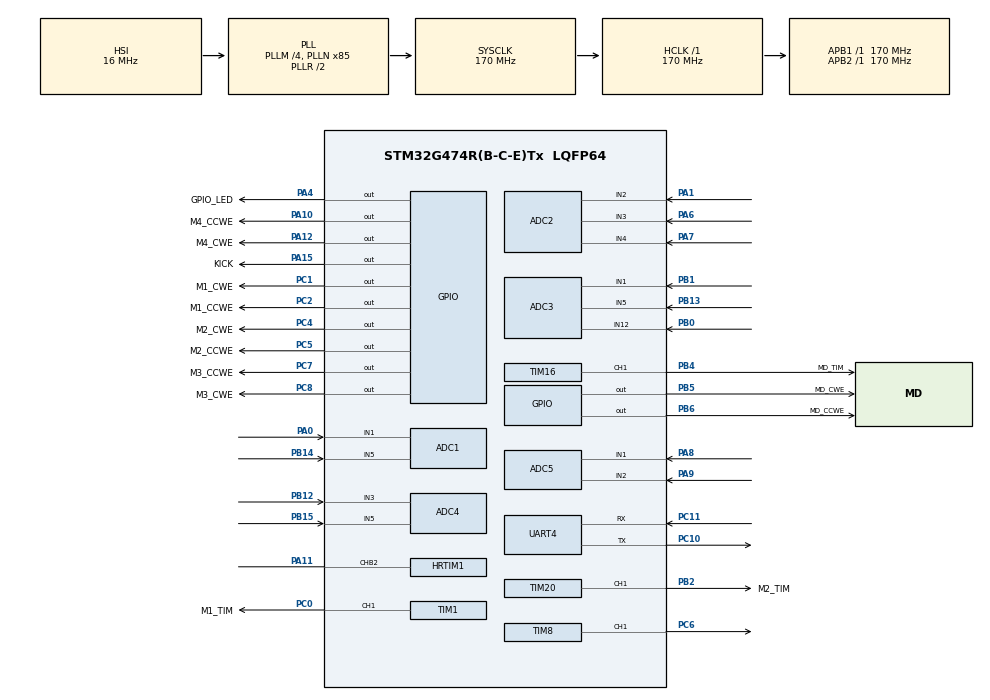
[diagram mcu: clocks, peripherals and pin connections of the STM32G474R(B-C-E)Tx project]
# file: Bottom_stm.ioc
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ADC1.Channel-0\#ChannelRegularConversion=ADC_CHANNEL_5
ADC1.Channel-1\#ChannelRegularConversion=ADC_CHANNEL_1
ADC1.NbrOfConversion=2
ADC1.NbrOfConversionFlag=1
ADC1.OffsetNumber-0\#ChannelRegularConversion=ADC_OFFSET_NONE
ADC1.OffsetNumber-1\#ChannelRegularConversion=ADC_OFFSET_NONE
ADC1.Rank-0\#ChannelRegularConversion=1
ADC1.Rank-1\#ChannelRegularConversion=2
ADC1.SamplingTime-0\#ChannelRegularConversion=ADC_SAMPLETIME_2CYCLES_5
ADC1.SamplingTime-1\#ChannelRegularConversion=ADC_SAMPLETIME_2CYCLES_5
ADC1.master=1
ADC2.Channel-0\#ChannelRegularConversion=ADC_CHANNEL_2
ADC2.Channel-1\#ChannelRegularConversion=ADC_CHANNEL_3
ADC2.Channel-2\#ChannelRegularConversion=ADC_CHANNEL_4
ADC2.NbrOfConversion=3
ADC2.NbrOfConversionFlag=1
ADC2.OffsetNumber-0\#ChannelRegularConversion=ADC_OFFSET_NONE
ADC2.OffsetNumber-1\#ChannelRegularConversion=ADC_OFFSET_NONE
ADC2.OffsetNumber-2\#ChannelRegularConversion=ADC_OFFSET_NONE
ADC2.Rank-0\#ChannelRegularConversion=1
ADC2.Rank-1\#ChannelRegularConversion=2
ADC2.Rank-2\#ChannelRegularConversion=3
ADC2.SamplingTime-0\#ChannelRegularConversion=ADC_SAMPLETIME_2CYCLES_5
ADC2.SamplingTime-1\#ChannelRegularConversion=ADC_SAMPLETIME_2CYCLES_5
ADC2.SamplingTime-2\#ChannelRegularConversion=ADC_SAMPLETIME_2CYCLES_5
ADC3.Channel-0\#ChannelRegularConversion=ADC_CHANNEL_1
ADC3.Channel-1\#ChannelRegularConversion=ADC_CHANNEL_5
ADC3.Channel-2\#ChannelRegularConversion=ADC_CHANNEL_12
ADC3.NbrOfConversion=3
ADC3.NbrOfConversionFlag=1
ADC3.OffsetNumber-0\#ChannelRegularConversion=ADC_OFFSET_NONE
ADC3.OffsetNumber-1\#ChannelRegularConversion=ADC_OFFSET_NONE
ADC3.OffsetNumber-2\#ChannelRegularConversion=ADC_OFFSET_NONE
ADC3.Rank-0\#ChannelRegularConversion=1
ADC3.Rank-1\#ChannelRegularConversion=2
ADC3.Rank-2\#ChannelRegularConversion=3
ADC3.SamplingTime-0\#ChannelRegularConversion=ADC_SAMPLETIME_2CYCLES_5
ADC3.SamplingTime-1\#ChannelRegularConversion=ADC_SAMPLETIME_2CYCLES_5
ADC3.SamplingTime-2\#ChannelRegularConversion=ADC_SAMPLETIME_2CYCLES_5
ADC3.master=1
ADC4.Channel-0\#ChannelRegularConversion=ADC_CHANNEL_3
ADC4.NbrOfConversion=1
ADC4.NbrOfConversionFlag=1
ADC4.OffsetNumber-0\#ChannelRegularConversion=ADC_OFFSET_NONE
ADC4.Rank-0\#ChannelRegularConversion=1
ADC4.SamplingTime-0\#ChannelRegularConversion=ADC_SAMPLETIME_2CYCLES_5
ADC5.Channel-0\#ChannelRegularConversion=ADC_CHANNEL_1
ADC5.Channel-1\#ChannelRegularConversion=ADC_CHANNEL_2
ADC5.NbrOfConversion=2
ADC5.NbrOfConversionFlag=1
ADC5.OffsetNumber-0\#ChannelRegularConversion=ADC_OFFSET_NONE
ADC5.OffsetNumber-1\#ChannelRegularConversion=ADC_OFFSET_NONE
ADC5.Rank-0\#ChannelRegularConversion=1
ADC5.Rank-1\#ChannelRegularConversion=2
ADC5.SamplingTime-0\#ChannelRegularConversion=ADC_SAMPLETIME_2CYCLES_5
ADC5.SamplingTime-1\#ChannelRegularConversion=ADC_SAMPLETIME_2CYCLES_5
HRTIM1.Configuration_TB=Simple
HRTIM1.PWMChannel_TB2=HRTIM_OUTPUT_TB2
HRTIM1.PWMPolarity_TB2=HRTIM_OUTPUTPOLARITY_LOW
HRTIM1.PWMPulse_TB2=5000
HRTIM1.Periode_TB=5000
Mcu.Family=STM32G4
Mcu.Name=STM32G474R(B-C-E)Tx
Mcu.Package=LQFP64
NVIC.PriorityGroup=NVIC_PRIORITYGROUP_4
NVIC.UART4_IRQn=true\:0\:0\:false\:false\:true\:true\:true\:true
PA0.Mode=IN1-Single-Ended
PA0.Signal=ADC1_IN1
PA1.Mode=IN2-Single-Ended
PA1.Signal=ADC2_IN2
PA10.GPIO_Label=M4_CCWE
PA10.Signal=GPIO_Output
PA11.Mode=Output_TB2
PA11.Signal=HRTIM1_CHB2
PA12.GPIO_Label=M4_CWE
PA12.Signal=GPIO_Output
PA13.Mode=Serial_Wire
PA13.Signal=SYS_JTMS-SWDIO
PA14.Mode=Serial_Wire
PA14.Signal=SYS_JTCK-SWCLK
PA15.GPIO_Label=KICK
PA15.Signal=GPIO_Output
PA4.GPIO_Label=GPIO_LED
PA4.Signal=GPIO_Output
PA6.Mode=IN3-Single-Ended
PA6.Signal=ADC2_IN3
PA7.Mode=IN4-Single-Ended
PA7.Signal=ADC2_IN4
PA8.Mode=IN1-Single-Ended
PA8.Signal=ADC5_IN1
PA9.Mode=IN2-Single-Ended
PA9.Signal=ADC5_IN2
PB0.Mode=IN12-Single-Ended
PB0.Signal=ADC3_IN12
PB1.Mode=IN1-Single-Ended
PB1.Signal=ADC3_IN1
PB12.Mode=IN3-Single-Ended
PB12.Signal=ADC4_IN3
PB13.Mode=IN5-Single-Ended
PB13.Signal=ADC3_IN5
PB14.Mode=IN5-Single-Ended
PB14.Signal=ADC1_IN5
PB15.Mode=IN5-Single-Ended
PB15.Signal=ADC4_IN5
PB2.GPIO_Label=M2_TIM
PB2.Signal=S_TIM20_CH1
PB4.GPIO_Label=MD_TIM
PB4.Signal=S_TIM16_CH1
PB5.GPIO_Label=MD_CWE
PB5.Signal=GPIO_Output
PB6.GPIO_Label=MD_CCWE
PB6.Signal=GPIO_Output
PC0.GPIO_Label=M1_TIM
PC0.Signal=S_TIM1_CH1
PC1.GPIO_Label=M1_CWE
PC1.Signal=GPIO_Output
PC10.Mode=Asynchronous
PC10.Signal=UART4_TX
PC11.Mode=Asynchronous
PC11.Signal=UART4_RX
PC2.GPIO_Label=M1_CCWE
PC2.Signal=GPIO_Output
PC4.GPIO_Label=M2_CWE
PC4.Signal=GPIO_Output
PC5.GPIO_Label=M2_CCWE
PC5.Signal=GPIO_Output
PC6.Signal=S_TIM8_CH1
PC7.GPIO_Label=M3_CCWE
PC7.Signal=GPIO_Output
PC8.GPIO_Label=M3_CWE
PC8.Signal=GPIO_Output
PF0-OSC_IN.Mode=HSE-External-Oscillator
PF0-OSC_IN.Signal=RCC_OSC_IN
PF1-OSC_OUT.Mode=HSE-External-Oscillator
PF1-OSC_OUT.Signal=RCC_OSC_OUT
ProjectManager.HeapSize=0x200
ProjectManager.StackSize=0x400
ProjectManager.TargetToolchain=STM32CubeIDE
RCC.ADC12Freq_Value=170000000
RCC.ADC345Freq_Value=170000000
RCC.AHBFreq_Value=170000000
RCC.APB1Freq_Value=170000000
RCC.APB1TimFreq_Value=170000000
RCC.APB2Freq_Value=170000000
RCC.APB2TimFreq_Value=170000000
RCC.CortexFreq_Value=170000000
RCC.EXTERNAL_CLOCK_VALUE=12288000
RCC.HCLKFreq_Value=170000000
RCC.HSE_VALUE=24000000
RCC.HSI48_VALUE=48000000
RCC.HSI_VALUE=16000000
RCC.LSE_VALUE=32768
RCC.PLLM=RCC_PLLM_DIV4
RCC.PLLN=85
RCC.SYSCLKFreq_VALUE=170000000
RCC.SYSCLKSource=RCC_SYSCLKSOURCE_PLLCLK
RCC.USBFreq_Value=170000000
RCC.VCOOutputFreq_Value=340000000
SH.S_TIM16_CH1.0=TIM16_CH1,PWM Generation1 CH1
SH.S_TIM1_CH1.0=TIM1_CH1,PWM Generation1 CH1
SH.S_TIM20_CH1.0=TIM20_CH1,PWM Generation1 CH1
SH.S_TIM8_CH1.0=TIM8_CH1,PWM Generation1 CH1
TIM1.Channel-PWM\ Generation1\ CH1=TIM_CHANNEL_1
TIM1.PeriodNoDither=5000
TIM16.Channel=TIM_CHANNEL_1
TIM16.PeriodNoDither=5000
TIM20.Channel-PWM\ Generation1\ CH1=TIM_CHANNEL_1
TIM20.PeriodNoDither=5000
TIM8.Channel-PWM\ Generation1\ CH1=TIM_CHANNEL_1
TIM8.PeriodNoDither=5000
VP_SYS_VS_DBSignals.Mode=DisableDeadBatterySignals
VP_TIM16_VS_ClockSourceINT.Mode=Enable_Timer
VP_TIM1_VS_ClockSourceINT.Mode=Internal
VP_TIM20_VS_ClockSourceINT.Mode=Internal
VP_TIM2_VS_ClockSourceINT.Mode=Internal
VP_TIM3_VS_ClockSourceINT.Mode=Internal
VP_TIM8_VS_ClockSourceINT.Mode=Internal
board=custom

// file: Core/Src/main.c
/* USER CODE BEGIN Header */
/**
  ******************************************************************************
  * @file           : main.c
  * @brief          : Main program body
  ******************************************************************************
  * @attention
  *
  * Copyright (c) 2024 STMicroelectronics.
  * All rights reserved.
  *
  * This software is licensed under terms that can be found in the LICENSE file
  * in the root directory of this software component.
  * If no LICENSE file comes with this software, it is provided AS-IS.
  *
  ******************************************************************************
  */
/* USER CODE END Header */
#include "main.h"

/* USER CODE BEGIN Includes */
#include <stdio.h>
#include <stdlib.h>
#include <string.h>
/* USER CODE END Includes */

ADC_HandleTypeDef hadc1;
ADC_HandleTypeDef hadc2;
ADC_HandleTypeDef hadc3;
ADC_HandleTypeDef hadc4;
ADC_HandleTypeDef hadc5;

HRTIM_HandleTypeDef hhrtim1;

TIM_HandleTypeDef htim1;
TIM_HandleTypeDef htim2;
TIM_HandleTypeDef htim3;
TIM_HandleTypeDef htim8;
TIM_HandleTypeDef htim16;
TIM_HandleTypeDef htim20;

UART_HandleTypeDef huart4;

void SystemClock_Config(void);
static void MX_GPIO_Init(void);
static void MX_ADC1_Init(void);
static void MX_ADC2_Init(void);
static void MX_ADC3_Init(void);
static void MX_ADC4_Init(void);
static void MX_ADC5_Init(void);
static void MX_HRTIM1_Init(void);
static void MX_TIM1_Init(void);
static void MX_TIM2_Init(void);
static void MX_TIM3_Init(void);
static void MX_TIM8_Init(void);
static void MX_TIM20_Init(void);
static void MX_UART4_Init(void);
static void MX_TIM16_Init(void);

/* USER CODE BEGIN 0 */
#define SENSOR_COUNT 7
#define MOTOR_COUNT 4
#define SEND_BUFFER_SIZE 128
#define READ_BUFFER_SIZE 128
#define MSG_G_SIZE 40
#define MSG_H_SIZE 48
#define TIME_BETWEEN_SEND 6 // 20
#define TIME_BETWEEN_KICK 1000
#define KICK_LENGTH 100

uint16_t lineSensorValue [SENSOR_COUNT]= {0,0,0,0,0,0,0};
uint16_t gateSensorValue = 0; // inverted values from the light gate
int16_t motorValue[MOTOR_COUNT]= {0,0,0,0};
int motorValUpdated = 1;
int16_t dribblerValue = 0;
uint8_t kickerValue = 0;
uint8_t kicked = 0;
uint32_t lastKick = 0;
uint32_t lastMsgRecieved = 0;

uint32_t huart4_TxStart = 0;
uint32_t huart4_TxDuration = 0;
uint32_t huart4_TxInProgress = 0;
uint32_t huart4_TxLastSent = 0;
int huart4_TxErrCnt = 0;

char huart4_RxBuffer[READ_BUFFER_SIZE];
int huart4_RxErrCnt = 0;
int huart4_RxErrCnt2 = 0;
//int huart4_RxErrCnt3 = 0;

uint32_t loop_start = 0;
uint32_t loop_duration = 0;

void my_ADC_Init(ADC_HandleTypeDef *hadc){
	if (HAL_ADC_DeInit(hadc) != HAL_OK)
	{
		Error_Handler();
	}
	//ADC_MultiModeTypeDef multimode = {0};

	hadc->Init.ScanConvMode = ADC_SCAN_DISABLE;
	hadc->Init.EOCSelection = ADC_EOC_SINGLE_CONV;

	hadc->Init.ContinuousConvMode = DISABLE;
	hadc->Init.NbrOfConversion = 1;

	if (HAL_ADC_Init(hadc) != HAL_OK)
	{
		Error_Handler();
	}

	/*multimode.Mode = ADC_MODE_INDEPENDENT;
	if (HAL_ADCEx_MultiModeConfigChannel(hadc, &multimode) != HAL_OK)
	{
		Error_Handler();
	}*/
}

void my_ADC_Start(ADC_HandleTypeDef *hadc, uint32_t channel){
	ADC_ChannelConfTypeDef sConfig = {0};

	sConfig.Channel = channel;
	sConfig.Rank = ADC_REGULAR_RANK_1;
	sConfig.SamplingTime = ADC_SAMPLETIME_2CYCLES_5;
	sConfig.SingleDiff = ADC_SINGLE_ENDED;
	sConfig.OffsetNumber = ADC_OFFSET_NONE;
	sConfig.Offset = 0;
	if (HAL_ADC_ConfigChannel(hadc, &sConfig) != HAL_OK)
	{
		Error_Handler();
	}

	HAL_ADC_Start(hadc);
}

void LineSensorRead(){
	my_ADC_Start(&hadc1, ADC_CHANNEL_5);
	my_ADC_Start(&hadc2, ADC_CHANNEL_3);
	my_ADC_Start(&hadc3, ADC_CHANNEL_12);
	my_ADC_Start(&hadc4, ADC_CHANNEL_5);

	HAL_ADC_PollForConversion(&hadc1, 1000);
	uint16_t s5 = HAL_ADC_GetValue(&hadc1);
	HAL_ADC_Stop(&hadc1);

	HAL_ADC_PollForConversion(&hadc2, 1000);
	uint16_t s0 = HAL_ADC_GetValue(&hadc2);
	HAL_ADC_Stop(&hadc2);

	HAL_ADC_PollForConversion(&hadc3, 1000);
	uint16_t s2 =  HAL_ADC_GetValue(&hadc3);
	HAL_ADC_Stop(&hadc3);

	HAL_ADC_PollForConversion(&hadc4, 1000);
	uint16_t s6 =  HAL_ADC_GetValue(&hadc4);
	HAL_ADC_Stop(&hadc4);

	my_ADC_Start(&hadc2, ADC_CHANNEL_4);
	my_ADC_Start(&hadc3, ADC_CHANNEL_1);

	HAL_ADC_PollForConversion(&hadc2, 1000);
	uint16_t s1 =  HAL_ADC_GetValue(&hadc2);
	HAL_ADC_Stop(&hadc2);

	HAL_ADC_PollForConversion(&hadc3, 1000);
	uint16_t s3 =  HAL_ADC_GetValue(&hadc3);
	HAL_ADC_Stop(&hadc3);

	my_ADC_Start(&hadc3, ADC_CHANNEL_5);

	HAL_ADC_PollForConversion(&hadc3, 1000);
	uint16_t s4 =  HAL_ADC_GetValue(&hadc3);
	HAL_ADC_Stop(&hadc3);

	if (s5 >= lineSensorValue[5]){
		lineSensorValue[5] = s5;
	}
	if (s0 >= lineSensorValue[0]){
		lineSensorValue[0] = s0;
	}
	if (s2 >= lineSensorValue[2]){
		lineSensorValue[2] = s2;
	}
	if (s6 >= lineSensorValue[6]){
		lineSensorValue[6] = s6;
	}
	if (s1 >= lineSensorValue[1]){
		lineSensorValue[1] = s1;
	}
	if (s3 >= lineSensorValue[3]){
		lineSensorValue[3] = s3;
	}
	if (s4 >= lineSensorValue[4]){
		lineSensorValue[4] = s4;
	}
}

void DriveMotorSet(){
	int16_t realMotorValue[MOTOR_COUNT];
	int8_t realMotorPolarity[MOTOR_COUNT];
	int16_t realDribblerValue;
	int8_t realDribblerPolarity;

	/*motorValue[0] = 100;
	motorValue[1] = 100;
	motorValue[2] = 100;
	motorValue[3] = 100;*/
	if (motorValUpdated == 0){
		return;
	}
	for (int i = 0; i < MOTOR_COUNT; i++) {
		if(motorValue[i] == 0){
			realMotorPolarity[i] = -1;
		}else
		if(motorValue[i] > 0){
			realMotorPolarity[i] = 0;
		} else {
			realMotorPolarity[i] = 1;
		}
		realMotorValue[i] = abs(motorValue[i])*3.788 + 757; // 757 - 0.5V, 0rpm; 4545 - 3V 1000rpm
	}
	{
		if(dribblerValue == 0){
			realDribblerPolarity = -1;
		}else
		if(dribblerValue > 0){
			realDribblerPolarity = 0;
		} else {
			realDribblerPolarity = 1;
		}
		realDribblerValue = abs(dribblerValue)*3.788 + 757; // 757 - 0.5V, 0rpm; 4545 - 3V ?rpm
	}

	if(realMotorPolarity[0] == -1){
		HAL_GPIO_WritePin(M1_CWE_GPIO_Port, M1_CWE_Pin, 0);
		HAL_GPIO_WritePin(M1_CCWE_GPIO_Port, M1_CCWE_Pin, 0);

		__HAL_TIM_SET_COMPARE(&htim1, TIM_CHANNEL_1, realMotorValue[0]);
	} else
	if(realMotorPolarity[0] > 0){
		HAL_GPIO_WritePin(M1_CWE_GPIO_Port, M1_CWE_Pin, 1);
		HAL_GPIO_WritePin(M1_CCWE_GPIO_Port, M1_CCWE_Pin, 0);

		__HAL_TIM_SET_COMPARE(&htim1, TIM_CHANNEL_1, realMotorValue[0]);
	} else {
		HAL_GPIO_WritePin(M1_CWE_GPIO_Port, M1_CWE_Pin, 0);
		HAL_GPIO_WritePin(M1_CCWE_GPIO_Port, M1_CCWE_Pin, 1);

		__HAL_TIM_SET_COMPARE(&htim1, TIM_CHANNEL_1, realMotorValue[0]);
	}

	if(realMotorPolarity[2] == -1){
		HAL_GPIO_WritePin(M2_CWE_GPIO_Port, M2_CWE_Pin, 0);
		HAL_GPIO_WritePin(M2_CCWE_GPIO_Port, M2_CCWE_Pin, 0);

		__HAL_TIM_SET_COMPARE(&htim20, TIM_CHANNEL_1, realMotorValue[2]);
	} else
	if(realMotorPolarity[2] > 0){
		HAL_GPIO_WritePin(M2_CWE_GPIO_Port, M2_CWE_Pin, 0);
		HAL_GPIO_WritePin(M2_CCWE_GPIO_Port, M2_CCWE_Pin, 1);

		__HAL_TIM_SET_COMPARE(&htim20, TIM_CHANNEL_1, realMotorValue[2]);
	} else {
		HAL_GPIO_WritePin(M2_CWE_GPIO_Port, M2_CWE_Pin, 1);
		HAL_GPIO_WritePin(M2_CCWE_GPIO_Port, M2_CCWE_Pin, 0);

		__HAL_TIM_SET_COMPARE(&htim20, TIM_CHANNEL_1, realMotorValue[2]);
	}

	if(realMotorPolarity[1] == -1){
		HAL_GPIO_WritePin(M3_CWE_GPIO_Port, M3_CWE_Pin, 0);
		HAL_GPIO_WritePin(M3_CCWE_GPIO_Port, M3_CCWE_Pin, 0);

		__HAL_TIM_SET_COMPARE(&htim8, TIM_CHANNEL_1, realMotorValue[1]);
	} else
	if(realMotorPolarity[1] > 0){
		HAL_GPIO_WritePin(M3_CWE_GPIO_Port, M3_CWE_Pin, 0);
		HAL_GPIO_WritePin(M3_CCWE_GPIO_Port, M3_CCWE_Pin, 1);

		__HAL_TIM_SET_COMPARE(&htim8, TIM_CHANNEL_1, realMotorValue[1]);
	} else {
		HAL_GPIO_WritePin(M3_CWE_GPIO_Port, M3_CWE_Pin, 1);
		HAL_GPIO_WritePin(M3_CCWE_GPIO_Port, M3_CCWE_Pin, 0);

		__HAL_TIM_SET_COMPARE(&htim8, TIM_CHANNEL_1, realMotorValue[1]);
	}

	if(realMotorPolarity[3] == -1){
		HAL_GPIO_WritePin(M4_CWE_GPIO_Port, M4_CWE_Pin, 0);
		HAL_GPIO_WritePin(M4_CCWE_GPIO_Port, M4_CCWE_Pin, 0);

		__HAL_HRTIM_SETCOMPARE(&hhrtim1, HRTIM_TIMERINDEX_TIMER_B, HRTIM_COMPAREUNIT_2, realMotorValue[3]);
		HAL_HRTIM_SoftwareUpdate(&hhrtim1, HRTIM_TIMERUPDATE_B);
	} else
	if(realMotorPolarity[3] > 0){
		HAL_GPIO_WritePin(M4_CWE_GPIO_Port, M4_CWE_Pin, 1);
		HAL_GPIO_WritePin(M4_CCWE_GPIO_Port, M4_CCWE_Pin, 0);

		__HAL_HRTIM_SETCOMPARE(&hhrtim1, HRTIM_TIMERINDEX_TIMER_B, HRTIM_COMPAREUNIT_2, realMotorValue[3]);
		HAL_HRTIM_SoftwareUpdate(&hhrtim1, HRTIM_TIMERUPDATE_B);
	} else {
		HAL_GPIO_WritePin(M4_CWE_GPIO_Port, M4_CWE_Pin, 0);
		HAL_GPIO_WritePin(M4_CCWE_GPIO_Port, M4_CCWE_Pin, 1);

		__HAL_HRTIM_SETCOMPARE(&hhrtim1, HRTIM_TIMERINDEX_TIMER_B, HRTIM_COMPAREUNIT_2, realMotorValue[3]);
		HAL_HRTIM_SoftwareUpdate(&hhrtim1, HRTIM_TIMERUPDATE_B);
	}

	if(realDribblerPolarity == -1){
		HAL_GPIO_WritePin(MD_CWE_GPIO_Port, MD_CWE_Pin, 0);
		HAL_GPIO_WritePin(MD_CCWE_GPIO_Port, MD_CCWE_Pin, 0);

		__HAL_TIM_SET_COMPARE(&htim16, TIM_CHANNEL_1, realDribblerValue);
	} else
	if(realDribblerPolarity > 0){
		HAL_GPIO_WritePin(MD_CWE_GPIO_Port, MD_CWE_Pin, 0);
		HAL_GPIO_WritePin(MD_CCWE_GPIO_Port, MD_CCWE_Pin, 1);

		__HAL_TIM_SET_COMPARE(&htim16, TIM_CHANNEL_1, realDribblerValue);
	} else {
		HAL_GPIO_WritePin(MD_CWE_GPIO_Port, MD_CWE_Pin, 0);
		HAL_GPIO_WritePin(MD_CCWE_GPIO_Port, MD_CCWE_Pin, 1);

		__HAL_TIM_SET_COMPARE(&htim16, TIM_CHANNEL_1, realDribblerValue);
	}

	if((kicked == 1) && (lastKick + KICK_LENGTH <= HAL_GetTick())){
		kicked = 2;
		HAL_GPIO_WritePin(KICK_GPIO_Port, KICK_Pin, 0);
	}
	if((kicked == 2) && (lastKick + TIME_BETWEEN_KICK <= HAL_GetTick())){
		kicked = 0;
	}
	if((kicked == 0) && (kickerValue > 0)){
		HAL_GPIO_WritePin(KICK_GPIO_Port, KICK_Pin, 1);
		lastKick = HAL_GetTick();
		kicked = 1;
	}

	motorValUpdated = 0;
}

void HAL_UART_TxCpltCallback(UART_HandleTypeDef *huart)
{
	//vyhodnotenie dlzky transmitu
	// nastavenie flagu o ukonceni komunikacie
	if(huart == &huart4){
		huart4_TxDuration = HAL_GetTick() - huart4_TxStart;
		huart4_TxInProgress = 0;
		huart4_TxErrCnt++;
	}
}

void HAL_UART_RxCpltCallback(UART_HandleTypeDef *huart)
{
	huart4_RxErrCnt++;
	if(huart == &huart4){
		int j = 0;
		while((huart4_RxBuffer[j] != '{') && (j< MSG_G_SIZE)){
			j++;
		}
		if((j > 0) && (j< MSG_G_SIZE)){
			for (int k = j; k < MSG_G_SIZE; k++) {
				huart4_RxBuffer[k-j] = huart4_RxBuffer[k];
			}
			HAL_UART_Receive_IT(&huart4, (uint8_t *)&huart4_RxBuffer[MSG_G_SIZE-j], j);
			//res7 = HAL_UART_Receive(&huart7, (uint8_t *)huart7_RxBuffer, MSG_H_SIZE, 10);
		} else {
			if(huart4_RxBuffer[0] == '{' && huart4_RxBuffer[2] == 'g' && huart4_RxBuffer[MSG_G_SIZE-2] == '}'){
				huart4_RxErrCnt2++;
				int i = 6;
				while((huart4_RxBuffer[i] != '\"') && (huart4_RxBuffer[i] != '\'') && (i< MSG_G_SIZE)){
					i++;
				}
				if(i<MSG_G_SIZE){
					huart4_RxBuffer[i] = 0;
					int res3, d1, d2, d3, d4, d5, d6;
					res3 = sscanf(&huart4_RxBuffer[6], "%d,%d,%d,%d,%d,%d", &d1, &d2, &d3, &d4, &d5, &d6);
					if(res3 == 6){
						motorValue[0] = d1;
						motorValue[1] = d2;
						motorValue[2] = d3;
						motorValue[3] = d4;
						dribblerValue = d5;
						kickerValue = d6;
						motorValUpdated = 1;
						lastMsgRecieved = HAL_GetTick();
					}
				}
			}
			HAL_UART_Receive_IT(&huart4, (uint8_t *)huart4_RxBuffer, MSG_G_SIZE);
		}
	}
}
/* USER CODE END 0 */

int main(void)
{

  /* MCU Configuration--------------------------------------------------------*/

  /* Reset of all peripherals, Initializes the Flash interface and the Systick. */
  HAL_Init();

  /* Configure the system clock */
  SystemClock_Config();

  /* Initialize all configured peripherals */
  MX_GPIO_Init();
  MX_ADC1_Init();
  MX_ADC2_Init();
  MX_ADC3_Init();
  MX_ADC4_Init();
  MX_ADC5_Init();
  MX_HRTIM1_Init();
  MX_TIM1_Init();
  MX_TIM2_Init();
  MX_TIM3_Init();
  MX_TIM8_Init();
  MX_TIM20_Init();
  MX_UART4_Init();
  MX_TIM16_Init();
  /* USER CODE BEGIN 2 */
  my_ADC_Init(&hadc1);
  my_ADC_Init(&hadc2);
  my_ADC_Init(&hadc3);
  my_ADC_Init(&hadc4);

  HAL_TIM_PWM_Start(&htim1, TIM_CHANNEL_1);
  HAL_TIM_PWM_Start(&htim20, TIM_CHANNEL_1);
  HAL_TIM_PWM_Start(&htim8, TIM_CHANNEL_1);
  HAL_HRTIM_SimplePWMStart(&hhrtim1, HRTIM_TIMERINDEX_TIMER_B, HRTIM_OUTPUT_TB2);
  HAL_TIM_PWM_Start(&htim16, TIM_CHANNEL_1);

  for (int i = 0; i < READ_BUFFER_SIZE; ++i) {
	  huart4_RxBuffer[i] = 0;
  }
  HAL_StatusTypeDef res;
  res = HAL_UART_Receive_IT(&huart4, (uint8_t *)huart4_RxBuffer, MSG_G_SIZE);
  if (res != HAL_OK)
  {
	  Error_Handler();
  }
  HAL_GPIO_WritePin(KICK_GPIO_Port, KICK_Pin, 0);
  /* USER CODE END 2 */

  /* Infinite loop */
  while (1)
  {

    /* USER CODE BEGIN 3 */
	  loop_start = HAL_GetTick();
	  LineSensorRead();
	  DriveMotorSet();

	  //HAL_GPIO_WritePin(GPIO_LED_GPIO_Port, GPIO_LED_Pin, 0);

	  if(HAL_GetTick() - lastMsgRecieved > 1000){
		  motorValue[0] = 0;
		  motorValue[1] = 0;
		  motorValue[2] = 0;
		  motorValue[3] = 0;
		  motorValUpdated = 1;
		  lastMsgRecieved = HAL_GetTick();
	  }

	  if((huart4_TxInProgress == 0) && (HAL_GetTick() >= huart4_TxLastSent + TIME_BETWEEN_SEND)){
		  huart4_TxStart = HAL_GetTick();
		  huart4_TxInProgress = 1;

		  char msg2[SEND_BUFFER_SIZE];
		  		  //HAL_GPIO_WritePin(GPIO_LED_GPIO_Port, GPIO_LED_Pin, 1);
		  sprintf(msg2, "{\"h\":\"%d,%d,%d,%d,%d,%d,%d,%d\"", (int) lineSensorValue[0], (int)lineSensorValue[1], (int)lineSensorValue[2], (int)lineSensorValue[3], (int)lineSensorValue[4], (int)lineSensorValue[5], (int)lineSensorValue[6], (int)gateSensorValue);
		  //sprintf(msg2, "{\"h\":\"%d,%d,%d,%d,%d,%d,%d\"", (int) huart4_RxErrCnt2%10000, (int)huart4_TxErrCnt%10000, (int)lineSensorValue[2], (int)lineSensorValue[3], (int)lineSensorValue[4], (int)lineSensorValue[5], (int)lineSensorValue[6]);
		  uint16_t msg2_len = strlen(msg2);
		  while(msg2_len < MSG_H_SIZE-2){
			  msg2[msg2_len++] = ' ';
		  }
		  msg2[msg2_len++] = '}';
		  msg2[msg2_len++] = '\n';

		  HAL_StatusTypeDef res2;
		  res2 = HAL_UART_Transmit_IT(&huart4, (uint8_t *)msg2, msg2_len);

		  if(res2 == HAL_OK){
			  huart4_TxLastSent = huart4_TxStart;
			  for (int i = 0; i < SENSOR_COUNT; i++) {
				  lineSensorValue[i] = 0;
			  }
		  }else{
			  huart4_TxInProgress = 0;
		  }

	  }
	  HAL_Delay(1);
	  loop_duration = HAL_GetTick() - loop_start;
	  /*HAL_Delay(3000);
	  char huart4_RxBuffer2[READ_BUFFER_SIZE];
	  for (int i = 0; i < READ_BUFFER_SIZE; ++i) {
		  huart4_RxBuffer2[i] = 0;
		}

	  HAL_StatusTypeDef res;
		res = HAL_UART_Receive(&huart4, (uint8_t *)huart4_RxBuffer2, MSG_G_SIZE,3000);
		if (res != HAL_OK)
		{
		  Error_Handler();
		} else {
			huart4_RxErrCnt3++;
		}*/
  }
  /* USER CODE END 3 */
}

void SystemClock_Config(void)
{
  RCC_OscInitTypeDef RCC_OscInitStruct = {0};
  RCC_ClkInitTypeDef RCC_ClkInitStruct = {0};

  /** Configure the main internal regulator output voltage
  */
  HAL_PWREx_ControlVoltageScaling(PWR_REGULATOR_VOLTAGE_SCALE1_BOOST);

  /** Initializes the RCC Oscillators according to the specified parameters
  * in the RCC_OscInitTypeDef structure.
  */
  RCC_OscInitStruct.OscillatorType = RCC_OSCILLATORTYPE_HSI;
  RCC_OscInitStruct.HSIState = RCC_HSI_ON;
  RCC_OscInitStruct.HSICalibrationValue = RCC_HSICALIBRATION_DEFAULT;
  RCC_OscInitStruct.PLL.PLLState = RCC_PLL_ON;
  RCC_OscInitStruct.PLL.PLLSource = RCC_PLLSOURCE_HSI;
  RCC_OscInitStruct.PLL.PLLM = RCC_PLLM_DIV4;
  RCC_OscInitStruct.PLL.PLLN = 85;
  RCC_OscInitStruct.PLL.PLLP = RCC_PLLP_DIV2;
  RCC_OscInitStruct.PLL.PLLQ = RCC_PLLQ_DIV2;
  RCC_OscInitStruct.PLL.PLLR = RCC_PLLR_DIV2;
  if (HAL_RCC_OscConfig(&RCC_OscInitStruct) != HAL_OK)
  {
    Error_Handler();
  }

  /** Initializes the CPU, AHB and APB buses clocks
  */
  RCC_ClkInitStruct.ClockType = RCC_CLOCKTYPE_HCLK|RCC_CLOCKTYPE_SYSCLK
                              |RCC_CLOCKTYPE_PCLK1|RCC_CLOCKTYPE_PCLK2;
  RCC_ClkInitStruct.SYSCLKSource = RCC_SYSCLKSOURCE_PLLCLK;
  RCC_ClkInitStruct.AHBCLKDivider = RCC_SYSCLK_DIV1;
  RCC_ClkInitStruct.APB1CLKDivider = RCC_HCLK_DIV1;
  RCC_ClkInitStruct.APB2CLKDivider = RCC_HCLK_DIV1;

  if (HAL_RCC_ClockConfig(&RCC_ClkInitStruct, FLASH_LATENCY_4) != HAL_OK)
  {
    Error_Handler();
  }
}

static void MX_ADC1_Init(void)
{

  ADC_MultiModeTypeDef multimode = {0};
  ADC_ChannelConfTypeDef sConfig = {0};

  /** Common config
  */
  hadc1.Instance = ADC1;
  hadc1.Init.ClockPrescaler = ADC_CLOCK_SYNC_PCLK_DIV4;
  hadc1.Init.Resolution = ADC_RESOLUTION_12B;
  hadc1.Init.DataAlign = ADC_DATAALIGN_RIGHT;
  hadc1.Init.GainCompensation = 0;
  hadc1.Init.ScanConvMode = ADC_SCAN_ENABLE;
  hadc1.Init.EOCSelection = ADC_EOC_SINGLE_CONV;
  hadc1.Init.LowPowerAutoWait = DISABLE;
  hadc1.Init.ContinuousConvMode = DISABLE;
  hadc1.Init.NbrOfConversion = 2;
  hadc1.Init.DiscontinuousConvMode = DISABLE;
  hadc1.Init.ExternalTrigConv = ADC_SOFTWARE_START;
  hadc1.Init.ExternalTrigConvEdge = ADC_EXTERNALTRIGCONVEDGE_NONE;
  hadc1.Init.DMAContinuousRequests = DISABLE;
  hadc1.Init.Overrun = ADC_OVR_DATA_PRESERVED;
  hadc1.Init.OversamplingMode = DISABLE;
  if (HAL_ADC_Init(&hadc1) != HAL_OK)
  {
    Error_Handler();
  }

  /** Configure the ADC multi-mode
  */
  multimode.Mode = ADC_MODE_INDEPENDENT;
  if (HAL_ADCEx_MultiModeConfigChannel(&hadc1, &multimode) != HAL_OK)
  {
    Error_Handler();
  }

  /** Configure Regular Channel
  */
  sConfig.Channel = ADC_CHANNEL_5;
  sConfig.Rank = ADC_REGULAR_RANK_1;
  sConfig.SamplingTime = ADC_SAMPLETIME_2CYCLES_5;
  sConfig.SingleDiff = ADC_SINGLE_ENDED;
  sConfig.OffsetNumber = ADC_OFFSET_NONE;
  sConfig.Offset = 0;
  if (HAL_ADC_ConfigChannel(&hadc1, &sConfig) != HAL_OK)
  {
    Error_Handler();
  }

  /** Configure Regular Channel
  */
  sConfig.Channel = ADC_CHANNEL_1;
  sConfig.Rank = ADC_REGULAR_RANK_2;
  if (HAL_ADC_ConfigChannel(&hadc1, &sConfig) != HAL_OK)
  {
    Error_Handler();
  }

}

static void MX_ADC2_Init(void)
{

  ADC_ChannelConfTypeDef sConfig = {0};

  /** Common config
  */
  hadc2.Instance = ADC2;
  hadc2.Init.ClockPrescaler = ADC_CLOCK_SYNC_PCLK_DIV4;
  hadc2.Init.Resolution = ADC_RESOLUTION_12B;
  hadc2.Init.DataAlign = ADC_DATAALIGN_RIGHT;
  hadc2.Init.GainCompensation = 0;
  hadc2.Init.ScanConvMode = ADC_SCAN_ENABLE;
  hadc2.Init.EOCSelection = ADC_EOC_SINGLE_CONV;
  hadc2.Init.LowPowerAutoWait = DISABLE;
  hadc2.Init.ContinuousConvMode = DISABLE;
  hadc2.Init.NbrOfConversion = 3;
  hadc2.Init.DiscontinuousConvMode = DISABLE;
  hadc2.Init.ExternalTrigConv = ADC_SOFTWARE_START;
  hadc2.Init.ExternalTrigConvEdge = ADC_EXTERNALTRIGCONVEDGE_NONE;
  hadc2.Init.DMAContinuousRequests = DISABLE;
  hadc2.Init.Overrun = ADC_OVR_DATA_PRESERVED;
  hadc2.Init.OversamplingMode = DISABLE;
  if (HAL_ADC_Init(&hadc2) != HAL_OK)
  {
    Error_Handler();
  }

  /** Configure Regular Channel
  */
  sConfig.Channel = ADC_CHANNEL_2;
  sConfig.Rank = ADC_REGULAR_RANK_1;
  sConfig.SamplingTime = ADC_SAMPLETIME_2CYCLES_5;
  sConfig.SingleDiff = ADC_SINGLE_ENDED;
  sConfig.OffsetNumber = ADC_OFFSET_NONE;
  sConfig.Offset = 0;
  if (HAL_ADC_ConfigChannel(&hadc2, &sConfig) != HAL_OK)
  {
    Error_Handler();
  }

  /** Configure Regular Channel
  */
  sConfig.Channel = ADC_CHANNEL_3;
  sConfig.Rank = ADC_REGULAR_RANK_2;
  if (HAL_ADC_ConfigChannel(&hadc2, &sConfig) != HAL_OK)
  {
    Error_Handler();
  }

  /** Configure Regular Channel
  */
  sConfig.Channel = ADC_CHANNEL_4;
  sConfig.Rank = ADC_REGULAR_RANK_3;
  if (HAL_ADC_ConfigChannel(&hadc2, &sConfig) != HAL_OK)
  {
    Error_Handler();
  }

}

static void MX_ADC3_Init(void)
{

  ADC_MultiModeTypeDef multimode = {0};
  ADC_ChannelConfTypeDef sConfig = {0};

  /** Common config
  */
  hadc3.Instance = ADC3;
  hadc3.Init.ClockPrescaler = ADC_CLOCK_SYNC_PCLK_DIV4;
  hadc3.Init.Resolution = ADC_RESOLUTION_12B;
  hadc3.Init.DataAlign = ADC_DATAALIGN_RIGHT;
  hadc3.Init.GainCompensation = 0;
  hadc3.Init.ScanConvMode = ADC_SCAN_ENABLE;
  hadc3.Init.EOCSelection = ADC_EOC_SINGLE_CONV;
  hadc3.Init.LowPowerAutoWait = DISABLE;
  hadc3.Init.ContinuousConvMode = DISABLE;
  hadc3.Init.NbrOfConversion = 3;
  hadc3.Init.DiscontinuousConvMode = DISABLE;
  hadc3.Init.ExternalTrigConv = ADC_SOFTWARE_START;
  hadc3.Init.ExternalTrigConvEdge = ADC_EXTERNALTRIGCONVEDGE_NONE;
  hadc3.Init.DMAContinuousRequests = DISABLE;
  hadc3.Init.Overrun = ADC_OVR_DATA_PRESERVED;
  hadc3.Init.OversamplingMode = DISABLE;
  if (HAL_ADC_Init(&hadc3) != HAL_OK)
  {
    Error_Handler();
  }

  /** Configure the ADC multi-mode
  */
  multimode.Mode = ADC_MODE_INDEPENDENT;
  if (HAL_ADCEx_MultiModeConfigChannel(&hadc3, &multimode) != HAL_OK)
  {
    Error_Handler();
  }

  /** Configure Regular Channel
  */
  sConfig.Channel = ADC_CHANNEL_1;
  sConfig.Rank = ADC_REGULAR_RANK_1;
  sConfig.SamplingTime = ADC_SAMPLETIME_2CYCLES_5;
  sConfig.SingleDiff = ADC_SINGLE_ENDED;
  sConfig.OffsetNumber = ADC_OFFSET_NONE;
  sConfig.Offset = 0;
  if (HAL_ADC_ConfigChannel(&hadc3, &sConfig) != HAL_OK)
  {
    Error_Handler();
  }

  /** Configure Regular Channel
  */
  sConfig.Channel = ADC_CHANNEL_5;
  sConfig.Rank = ADC_REGULAR_RANK_2;
  if (HAL_ADC_ConfigChannel(&hadc3, &sConfig) != HAL_OK)
  {
    Error_Handler();
  }

  /** Configure Regular Channel
  */
  sConfig.Channel = ADC_CHANNEL_12;
  sConfig.Rank = ADC_REGULAR_RANK_3;
  if (HAL_ADC_ConfigChannel(&hadc3, &sConfig) != HAL_OK)
  {
    Error_Handler();
  }

}

static void MX_ADC4_Init(void)
{

  ADC_ChannelConfTypeDef sConfig = {0};

  /** Common config
  */
  hadc4.Instance = ADC4;
  hadc4.Init.ClockPrescaler = ADC_CLOCK_SYNC_PCLK_DIV4;
  hadc4.Init.Resolution = ADC_RESOLUTION_12B;
  hadc4.Init.DataAlign = ADC_DATAALIGN_RIGHT;
  hadc4.Init.GainCompensation = 0;
  hadc4.Init.ScanConvMode = ADC_SCAN_DISABLE;
  hadc4.Init.EOCSelection = ADC_EOC_SINGLE_CONV;
  hadc4.Init.LowPowerAutoWait = DISABLE;
  hadc4.Init.ContinuousConvMode = DISABLE;
  hadc4.Init.NbrOfConversion = 1;
  hadc4.Init.DiscontinuousConvMode = DISABLE;
  hadc4.Init.ExternalTrigConv = ADC_SOFTWARE_START;
  hadc4.Init.ExternalTrigConvEdge = ADC_EXTERNALTRIGCONVEDGE_NONE;
  hadc4.Init.DMAContinuousRequests = DISABLE;
  hadc4.Init.Overrun = ADC_OVR_DATA_PRESERVED;
  hadc4.Init.OversamplingMode = DISABLE;
  if (HAL_ADC_Init(&hadc4) != HAL_OK)
  {
    Error_Handler();
  }

  /** Configure Regular Channel
  */
  sConfig.Channel = ADC_CHANNEL_3;
  sConfig.Rank = ADC_REGULAR_RANK_1;
  sConfig.SamplingTime = ADC_SAMPLETIME_2CYCLES_5;
  sConfig.SingleDiff = ADC_SINGLE_ENDED;
  sConfig.OffsetNumber = ADC_OFFSET_NONE;
  sConfig.Offset = 0;
  if (HAL_ADC_ConfigChannel(&hadc4, &sConfig) != HAL_OK)
  {
    Error_Handler();
  }

}

static void MX_ADC5_Init(void)
{

  ADC_ChannelConfTypeDef sConfig = {0};

  /** Common config
  */
  hadc5.Instance = ADC5;
  hadc5.Init.ClockPrescaler = ADC_CLOCK_SYNC_PCLK_DIV4;
  hadc5.Init.Resolution = ADC_RESOLUTION_12B;
  hadc5.Init.DataAlign = ADC_DATAALIGN_RIGHT;
  hadc5.Init.GainCompensation = 0;
  hadc5.Init.ScanConvMode = ADC_SCAN_ENABLE;
  hadc5.Init.EOCSelection = ADC_EOC_SINGLE_CONV;
  hadc5.Init.LowPowerAutoWait = DISABLE;
  hadc5.Init.ContinuousConvMode = DISABLE;
  hadc5.Init.NbrOfConversion = 2;
  hadc5.Init.DiscontinuousConvMode = DISABLE;
  hadc5.Init.ExternalTrigConv = ADC_SOFTWARE_START;
  hadc5.Init.ExternalTrigConvEdge = ADC_EXTERNALTRIGCONVEDGE_NONE;
  hadc5.Init.DMAContinuousRequests = DISABLE;
  hadc5.Init.Overrun = ADC_OVR_DATA_PRESERVED;
  hadc5.Init.OversamplingMode = DISABLE;
  if (HAL_ADC_Init(&hadc5) != HAL_OK)
  {
    Error_Handler();
  }

  /** Configure Regular Channel
  */
  sConfig.Channel = ADC_CHANNEL_1;
  sConfig.Rank = ADC_REGULAR_RANK_1;
  sConfig.SamplingTime = ADC_SAMPLETIME_2CYCLES_5;
  sConfig.SingleDiff = ADC_SINGLE_ENDED;
  sConfig.OffsetNumber = ADC_OFFSET_NONE;
  sConfig.Offset = 0;
  if (HAL_ADC_ConfigChannel(&hadc5, &sConfig) != HAL_OK)
  {
    Error_Handler();
  }

  /** Configure Regular Channel
  */
  sConfig.Channel = ADC_CHANNEL_2;
  sConfig.Rank = ADC_REGULAR_RANK_2;
  if (HAL_ADC_ConfigChannel(&hadc5, &sConfig) != HAL_OK)
  {
    Error_Handler();
  }

}

static void MX_HRTIM1_Init(void)
{

  HRTIM_TimeBaseCfgTypeDef pTimeBaseCfg = {0};
  HRTIM_TimerCtlTypeDef pTimerCtl = {0};
  HRTIM_SimplePWMChannelCfgTypeDef pSimplePWMChannelCfg = {0};

  hhrtim1.Instance = HRTIM1;
  hhrtim1.Init.HRTIMInterruptResquests = HRTIM_IT_NONE;
  hhrtim1.Init.SyncOptions = HRTIM_SYNCOPTION_NONE;
  if (HAL_HRTIM_Init(&hhrtim1) != HAL_OK)
  {
    Error_Handler();
  }
  if (HAL_HRTIM_DLLCalibrationStart(&hhrtim1, HRTIM_CALIBRATIONRATE_3) != HAL_OK)
  {
    Error_Handler();
  }
  if (HAL_HRTIM_PollForDLLCalibration(&hhrtim1, 10) != HAL_OK)
  {
    Error_Handler();
  }
  pTimeBaseCfg.Period = 5000;
  pTimeBaseCfg.RepetitionCounter = 0x00;
  pTimeBaseCfg.PrescalerRatio = HRTIM_PRESCALERRATIO_MUL32;
  pTimeBaseCfg.Mode = HRTIM_MODE_CONTINUOUS;
  if (HAL_HRTIM_TimeBaseConfig(&hhrtim1, HRTIM_TIMERINDEX_TIMER_B, &pTimeBaseCfg) != HAL_OK)
  {
    Error_Handler();
  }
  pTimerCtl.UpDownMode = HRTIM_TIMERUPDOWNMODE_UP;
  pTimerCtl.DualChannelDacEnable = HRTIM_TIMER_DCDE_DISABLED;

  if (HAL_HRTIM_WaveformTimerControl(&hhrtim1, HRTIM_TIMERINDEX_TIMER_B, &pTimerCtl) != HAL_OK)
  {
    Error_Handler();
  }
  pSimplePWMChannelCfg.Pulse = 5000;
  pSimplePWMChannelCfg.Polarity = HRTIM_OUTPUTPOLARITY_LOW;
  pSimplePWMChannelCfg.IdleLevel = HRTIM_OUTPUTIDLELEVEL_INACTIVE;
  if (HAL_HRTIM_SimplePWMChannelConfig(&hhrtim1, HRTIM_TIMERINDEX_TIMER_B, HRTIM_OUTPUT_TB2, &pSimplePWMChannelCfg) != HAL_OK)
  {
    Error_Handler();
  }
  HAL_HRTIM_MspPostInit(&hhrtim1);

}

static void MX_TIM1_Init(void)
{

  TIM_ClockConfigTypeDef sClockSourceConfig = {0};
  TIM_MasterConfigTypeDef sMasterConfig = {0};
  TIM_OC_InitTypeDef sConfigOC = {0};
  TIM_BreakDeadTimeConfigTypeDef sBreakDeadTimeConfig = {0};

  htim1.Instance = TIM1;
  htim1.Init.Prescaler = 0;
  htim1.Init.CounterMode = TIM_COUNTERMODE_UP;
  htim1.Init.Period = 5000;
  htim1.Init.ClockDivision = TIM_CLOCKDIVISION_DIV1;
  htim1.Init.RepetitionCounter = 0;
  htim1.Init.AutoReloadPreload = TIM_AUTORELOAD_PRELOAD_DISABLE;
  if (HAL_TIM_Base_Init(&htim1) != HAL_OK)
  {
    Error_Handler();
  }
  sClockSourceConfig.ClockSource = TIM_CLOCKSOURCE_INTERNAL;
  if (HAL_TIM_ConfigClockSource(&htim1, &sClockSourceConfig) != HAL_OK)
  {
    Error_Handler();
  }
  if (HAL_TIM_PWM_Init(&htim1) != HAL_OK)
  {
    Error_Handler();
  }
  sMasterConfig.MasterOutputTrigger = TIM_TRGO_RESET;
  sMasterConfig.MasterOutputTrigger2 = TIM_TRGO2_RESET;
  sMasterConfig.MasterSlaveMode = TIM_MASTERSLAVEMODE_DISABLE;
  if (HAL_TIMEx_MasterConfigSynchronization(&htim1, &sMasterConfig) != HAL_OK)
  {
    Error_Handler();
  }
  sConfigOC.OCMode = TIM_OCMODE_PWM1;
  sConfigOC.Pulse = 0;
  sConfigOC.OCPolarity = TIM_OCPOLARITY_HIGH;
  sConfigOC.OCNPolarity = TIM_OCNPOLARITY_HIGH;
  sConfigOC.OCFastMode = TIM_OCFAST_DISABLE;
  sConfigOC.OCIdleState = TIM_OCIDLESTATE_RESET;
  sConfigOC.OCNIdleState = TIM_OCNIDLESTATE_RESET;
  if (HAL_TIM_PWM_ConfigChannel(&htim1, &sConfigOC, TIM_CHANNEL_1) != HAL_OK)
  {
    Error_Handler();
  }
  sBreakDeadTimeConfig.OffStateRunMode = TIM_OSSR_DISABLE;
  sBreakDeadTimeConfig.OffStateIDLEMode = TIM_OSSI_DISABLE;
  sBreakDeadTimeConfig.LockLevel = TIM_LOCKLEVEL_OFF;
  sBreakDeadTimeConfig.DeadTime = 0;
  sBreakDeadTimeConfig.BreakState = TIM_BREAK_DISABLE;
  sBreakDeadTimeConfig.BreakPolarity = TIM_BREAKPOLARITY_HIGH;
  sBreakDeadTimeConfig.BreakFilter = 0;
  sBreakDeadTimeConfig.BreakAFMode = TIM_BREAK_AFMODE_INPUT;
  sBreakDeadTimeConfig.Break2State = TIM_BREAK2_DISABLE;
  sBreakDeadTimeConfig.Break2Polarity = TIM_BREAK2POLARITY_HIGH;
  sBreakDeadTimeConfig.Break2Filter = 0;
  sBreakDeadTimeConfig.Break2AFMode = TIM_BREAK_AFMODE_INPUT;
  sBreakDeadTimeConfig.AutomaticOutput = TIM_AUTOMATICOUTPUT_DISABLE;
  if (HAL_TIMEx_ConfigBreakDeadTime(&htim1, &sBreakDeadTimeConfig) != HAL_OK)
  {
    Error_Handler();
  }
  HAL_TIM_MspPostInit(&htim1);

}

static void MX_TIM2_Init(void)
{

  TIM_ClockConfigTypeDef sClockSourceConfig = {0};
  TIM_MasterConfigTypeDef sMasterConfig = {0};

  htim2.Instance = TIM2;
  htim2.Init.Prescaler = 0;
  htim2.Init.CounterMode = TIM_COUNTERMODE_UP;
  htim2.Init.Period = 4.294967295E9;
  htim2.Init.ClockDivision = TIM_CLOCKDIVISION_DIV1;
  htim2.Init.AutoReloadPreload = TIM_AUTORELOAD_PRELOAD_DISABLE;
  if (HAL_TIM_Base_Init(&htim2) != HAL_OK)
  {
    Error_Handler();
  }
  sClockSourceConfig.ClockSource = TIM_CLOCKSOURCE_INTERNAL;
  if (HAL_TIM_ConfigClockSource(&htim2, &sClockSourceConfig) != HAL_OK)
  {
    Error_Handler();
  }
  sMasterConfig.MasterOutputTrigger = TIM_TRGO_RESET;
  sMasterConfig.MasterSlaveMode = TIM_MASTERSLAVEMODE_DISABLE;
  if (HAL_TIMEx_MasterConfigSynchronization(&htim2, &sMasterConfig) != HAL_OK)
  {
    Error_Handler();
  }

}

static void MX_TIM3_Init(void)
{

  TIM_ClockConfigTypeDef sClockSourceConfig = {0};
  TIM_MasterConfigTypeDef sMasterConfig = {0};

  htim3.Instance = TIM3;
  htim3.Init.Prescaler = 0;
  htim3.Init.CounterMode = TIM_COUNTERMODE_UP;
  htim3.Init.Period = 65535;
  htim3.Init.ClockDivision = TIM_CLOCKDIVISION_DIV1;
  htim3.Init.AutoReloadPreload = TIM_AUTORELOAD_PRELOAD_DISABLE;
  if (HAL_TIM_Base_Init(&htim3) != HAL_OK)
  {
    Error_Handler();
  }
  sClockSourceConfig.ClockSource = TIM_CLOCKSOURCE_INTERNAL;
  if (HAL_TIM_ConfigClockSource(&htim3, &sClockSourceConfig) != HAL_OK)
  {
    Error_Handler();
  }
  sMasterConfig.MasterOutputTrigger = TIM_TRGO_RESET;
  sMasterConfig.MasterSlaveMode = TIM_MASTERSLAVEMODE_DISABLE;
  if (HAL_TIMEx_MasterConfigSynchronization(&htim3, &sMasterConfig) != HAL_OK)
  {
    Error_Handler();
  }

}

static void MX_TIM8_Init(void)
{

  TIM_ClockConfigTypeDef sClockSourceConfig = {0};
  TIM_MasterConfigTypeDef sMasterConfig = {0};
  TIM_OC_InitTypeDef sConfigOC = {0};
  TIM_BreakDeadTimeConfigTypeDef sBreakDeadTimeConfig = {0};

  htim8.Instance = TIM8;
  htim8.Init.Prescaler = 0;
  htim8.Init.CounterMode = TIM_COUNTERMODE_UP;
  htim8.Init.Period = 5000;
  htim8.Init.ClockDivision = TIM_CLOCKDIVISION_DIV1;
  htim8.Init.RepetitionCounter = 0;
  htim8.Init.AutoReloadPreload = TIM_AUTORELOAD_PRELOAD_DISABLE;
  if (HAL_TIM_Base_Init(&htim8) != HAL_OK)
  {
    Error_Handler();
  }
  sClockSourceConfig.ClockSource = TIM_CLOCKSOURCE_INTERNAL;
  if (HAL_TIM_ConfigClockSource(&htim8, &sClockSourceConfig) != HAL_OK)
  {
    Error_Handler();
  }
  if (HAL_TIM_PWM_Init(&htim8) != HAL_OK)
  {
    Error_Handler();
  }
  sMasterConfig.MasterOutputTrigger = TIM_TRGO_RESET;
  sMasterConfig.MasterOutputTrigger2 = TIM_TRGO2_RESET;
  sMasterConfig.MasterSlaveMode = TIM_MASTERSLAVEMODE_DISABLE;
  if (HAL_TIMEx_MasterConfigSynchronization(&htim8, &sMasterConfig) != HAL_OK)
  {
    Error_Handler();
  }
  sConfigOC.OCMode = TIM_OCMODE_PWM1;
  sConfigOC.Pulse = 0;
  sConfigOC.OCPolarity = TIM_OCPOLARITY_HIGH;
  sConfigOC.OCNPolarity = TIM_OCNPOLARITY_HIGH;
  sConfigOC.OCFastMode = TIM_OCFAST_DISABLE;
  sConfigOC.OCIdleState = TIM_OCIDLESTATE_RESET;
  sConfigOC.OCNIdleState = TIM_OCNIDLESTATE_RESET;
  if (HAL_TIM_PWM_ConfigChannel(&htim8, &sConfigOC, TIM_CHANNEL_1) != HAL_OK)
  {
    Error_Handler();
  }
  sBreakDeadTimeConfig.OffStateRunMode = TIM_OSSR_DISABLE;
  sBreakDeadTimeConfig.OffStateIDLEMode = TIM_OSSI_DISABLE;
  sBreakDeadTimeConfig.LockLevel = TIM_LOCKLEVEL_OFF;
  sBreakDeadTimeConfig.DeadTime = 0;
  sBreakDeadTimeConfig.BreakState = TIM_BREAK_DISABLE;
  sBreakDeadTimeConfig.BreakPolarity = TIM_BREAKPOLARITY_HIGH;
  sBreakDeadTimeConfig.BreakFilter = 0;
  sBreakDeadTimeConfig.BreakAFMode = TIM_BREAK_AFMODE_INPUT;
  sBreakDeadTimeConfig.Break2State = TIM_BREAK2_DISABLE;
  sBreakDeadTimeConfig.Break2Polarity = TIM_BREAK2POLARITY_HIGH;
  sBreakDeadTimeConfig.Break2Filter = 0;
  sBreakDeadTimeConfig.Break2AFMode = TIM_BREAK_AFMODE_INPUT;
  sBreakDeadTimeConfig.AutomaticOutput = TIM_AUTOMATICOUTPUT_DISABLE;
  if (HAL_TIMEx_ConfigBreakDeadTime(&htim8, &sBreakDeadTimeConfig) != HAL_OK)
  {
    Error_Handler();
  }
  HAL_TIM_MspPostInit(&htim8);

}

static void MX_TIM16_Init(void)
{

  TIM_OC_InitTypeDef sConfigOC = {0};
  TIM_BreakDeadTimeConfigTypeDef sBreakDeadTimeConfig = {0};

  htim16.Instance = TIM16;
  htim16.Init.Prescaler = 0;
  htim16.Init.CounterMode = TIM_COUNTERMODE_UP;
  htim16.Init.Period = 5000;
  htim16.Init.ClockDivision = TIM_CLOCKDIVISION_DIV1;
  htim16.Init.RepetitionCounter = 0;
  htim16.Init.AutoReloadPreload = TIM_AUTORELOAD_PRELOAD_DISABLE;
  if (HAL_TIM_Base_Init(&htim16) != HAL_OK)
  {
    Error_Handler();
  }
  if (HAL_TIM_PWM_Init(&htim16) != HAL_OK)
  {
    Error_Handler();
  }
  sConfigOC.OCMode = TIM_OCMODE_PWM1;
  sConfigOC.Pulse = 0;
  sConfigOC.OCPolarity = TIM_OCPOLARITY_HIGH;
  sConfigOC.OCNPolarity = TIM_OCNPOLARITY_HIGH;
  sConfigOC.OCFastMode = TIM_OCFAST_DISABLE;
  sConfigOC.OCIdleState = TIM_OCIDLESTATE_RESET;
  sConfigOC.OCNIdleState = TIM_OCNIDLESTATE_RESET;
  if (HAL_TIM_PWM_ConfigChannel(&htim16, &sConfigOC, TIM_CHANNEL_1) != HAL_OK)
  {
    Error_Handler();
  }
  sBreakDeadTimeConfig.OffStateRunMode = TIM_OSSR_DISABLE;
  sBreakDeadTimeConfig.OffStateIDLEMode = TIM_OSSI_DISABLE;
  sBreakDeadTimeConfig.LockLevel = TIM_LOCKLEVEL_OFF;
  sBreakDeadTimeConfig.DeadTime = 0;
  sBreakDeadTimeConfig.BreakState = TIM_BREAK_DISABLE;
  sBreakDeadTimeConfig.BreakPolarity = TIM_BREAKPOLARITY_HIGH;
  sBreakDeadTimeConfig.BreakFilter = 0;
  sBreakDeadTimeConfig.AutomaticOutput = TIM_AUTOMATICOUTPUT_DISABLE;
  if (HAL_TIMEx_ConfigBreakDeadTime(&htim16, &sBreakDeadTimeConfig) != HAL_OK)
  {
    Error_Handler();
  }
  HAL_TIM_MspPostInit(&htim16);

}

static void MX_TIM20_Init(void)
{

  TIM_ClockConfigTypeDef sClockSourceConfig = {0};
  TIM_MasterConfigTypeDef sMasterConfig = {0};
  TIM_OC_InitTypeDef sConfigOC = {0};
  TIM_BreakDeadTimeConfigTypeDef sBreakDeadTimeConfig = {0};

  htim20.Instance = TIM20;
  htim20.Init.Prescaler = 0;
  htim20.Init.CounterMode = TIM_COUNTERMODE_UP;
  htim20.Init.Period = 5000;
  htim20.Init.ClockDivision = TIM_CLOCKDIVISION_DIV1;
  htim20.Init.RepetitionCounter = 0;
  htim20.Init.AutoReloadPreload = TIM_AUTORELOAD_PRELOAD_DISABLE;
  if (HAL_TIM_Base_Init(&htim20) != HAL_OK)
  {
    Error_Handler();
  }
  sClockSourceConfig.ClockSource = TIM_CLOCKSOURCE_INTERNAL;
  if (HAL_TIM_ConfigClockSource(&htim20, &sClockSourceConfig) != HAL_OK)
  {
    Error_Handler();
  }
  if (HAL_TIM_PWM_Init(&htim20) != HAL_OK)
  {
    Error_Handler();
  }
  sMasterConfig.MasterOutputTrigger = TIM_TRGO_RESET;
  sMasterConfig.MasterOutputTrigger2 = TIM_TRGO2_RESET;
  sMasterConfig.MasterSlaveMode = TIM_MASTERSLAVEMODE_DISABLE;
  if (HAL_TIMEx_MasterConfigSynchronization(&htim20, &sMasterConfig) != HAL_OK)
  {
    Error_Handler();
  }
  sConfigOC.OCMode = TIM_OCMODE_PWM1;
  sConfigOC.Pulse = 0;
  sConfigOC.OCPolarity = TIM_OCPOLARITY_HIGH;
  sConfigOC.OCNPolarity = TIM_OCNPOLARITY_HIGH;
  sConfigOC.OCFastMode = TIM_OCFAST_DISABLE;
  sConfigOC.OCIdleState = TIM_OCIDLESTATE_RESET;
  sConfigOC.OCNIdleState = TIM_OCNIDLESTATE_RESET;
  if (HAL_TIM_PWM_ConfigChannel(&htim20, &sConfigOC, TIM_CHANNEL_1) != HAL_OK)
  {
    Error_Handler();
  }
  sBreakDeadTimeConfig.OffStateRunMode = TIM_OSSR_DISABLE;
  sBreakDeadTimeConfig.OffStateIDLEMode = TIM_OSSI_DISABLE;
  sBreakDeadTimeConfig.LockLevel = TIM_LOCKLEVEL_OFF;
  sBreakDeadTimeConfig.DeadTime = 0;
  sBreakDeadTimeConfig.BreakState = TIM_BREAK_DISABLE;
  sBreakDeadTimeConfig.BreakPolarity = TIM_BREAKPOLARITY_HIGH;
  sBreakDeadTimeConfig.BreakFilter = 0;
  sBreakDeadTimeConfig.BreakAFMode = TIM_BREAK_AFMODE_INPUT;
  sBreakDeadTimeConfig.Break2State = TIM_BREAK2_DISABLE;
  sBreakDeadTimeConfig.Break2Polarity = TIM_BREAK2POLARITY_HIGH;
  sBreakDeadTimeConfig.Break2Filter = 0;
  sBreakDeadTimeConfig.Break2AFMode = TIM_BREAK_AFMODE_INPUT;
  sBreakDeadTimeConfig.AutomaticOutput = TIM_AUTOMATICOUTPUT_DISABLE;
  if (HAL_TIMEx_ConfigBreakDeadTime(&htim20, &sBreakDeadTimeConfig) != HAL_OK)
  {
    Error_Handler();
  }
  HAL_TIM_MspPostInit(&htim20);

}

static void MX_UART4_Init(void)
{

  huart4.Instance = UART4;
  huart4.Init.BaudRate = 115200;
  huart4.Init.WordLength = UART_WORDLENGTH_8B;
  huart4.Init.StopBits = UART_STOPBITS_1;
  huart4.Init.Parity = UART_PARITY_NONE;
  huart4.Init.Mode = UART_MODE_TX_RX;
  huart4.Init.HwFlowCtl = UART_HWCONTROL_NONE;
  huart4.Init.OverSampling = UART_OVERSAMPLING_16;
  huart4.Init.OneBitSampling = UART_ONE_BIT_SAMPLE_DISABLE;
  huart4.Init.ClockPrescaler = UART_PRESCALER_DIV1;
  huart4.AdvancedInit.AdvFeatureInit = UART_ADVFEATURE_NO_INIT;
  if (HAL_UART_Init(&huart4) != HAL_OK)
  {
    Error_Handler();
  }
  if (HAL_UARTEx_SetTxFifoThreshold(&huart4, UART_TXFIFO_THRESHOLD_1_8) != HAL_OK)
  {
    Error_Handler();
  }
  if (HAL_UARTEx_SetRxFifoThreshold(&huart4, UART_RXFIFO_THRESHOLD_1_8) != HAL_OK)
  {
    Error_Handler();
  }
  if (HAL_UARTEx_DisableFifoMode(&huart4) != HAL_OK)
  {
    Error_Handler();
  }

}

static void MX_GPIO_Init(void)
{
  GPIO_InitTypeDef GPIO_InitStruct = {0};

  /* GPIO Ports Clock Enable */
  __HAL_RCC_GPIOF_CLK_ENABLE();
  __HAL_RCC_GPIOC_CLK_ENABLE();
  __HAL_RCC_GPIOA_CLK_ENABLE();
  __HAL_RCC_GPIOB_CLK_ENABLE();

  /*Configure GPIO pin Output Level */
  HAL_GPIO_WritePin(GPIOC, M1_CWE_Pin|M1_CCWE_Pin|M2_CWE_Pin|M2_CCWE_Pin
                          |M3_CCWE_Pin|M3_CWE_Pin, GPIO_PIN_RESET);

  /*Configure GPIO pin Output Level */
  HAL_GPIO_WritePin(GPIOA, GPIO_LED_Pin|M4_CCWE_Pin|M4_CWE_Pin|KICK_Pin, GPIO_PIN_RESET);

  /*Configure GPIO pin Output Level */
  HAL_GPIO_WritePin(GPIOB, MD_CWE_Pin|MD_CCWE_Pin, GPIO_PIN_RESET);

  /*Configure GPIO pins : M1_CWE_Pin M1_CCWE_Pin M2_CWE_Pin M2_CCWE_Pin
                           M3_CCWE_Pin M3_CWE_Pin */
  GPIO_InitStruct.Pin = M1_CWE_Pin|M1_CCWE_Pin|M2_CWE_Pin|M2_CCWE_Pin
                          |M3_CCWE_Pin|M3_CWE_Pin;
  GPIO_InitStruct.Mode = GPIO_MODE_OUTPUT_PP;
  GPIO_InitStruct.Pull = GPIO_NOPULL;
  GPIO_InitStruct.Speed = GPIO_SPEED_FREQ_LOW;
  HAL_GPIO_Init(GPIOC, &GPIO_InitStruct);

  /*Configure GPIO pins : GPIO_LED_Pin M4_CCWE_Pin M4_CWE_Pin KICK_Pin */
  GPIO_InitStruct.Pin = GPIO_LED_Pin|M4_CCWE_Pin|M4_CWE_Pin|KICK_Pin;
  GPIO_InitStruct.Mode = GPIO_MODE_OUTPUT_PP;
  GPIO_InitStruct.Pull = GPIO_NOPULL;
  GPIO_InitStruct.Speed = GPIO_SPEED_FREQ_LOW;
  HAL_GPIO_Init(GPIOA, &GPIO_InitStruct);

  /*Configure GPIO pins : MD_CWE_Pin MD_CCWE_Pin */
  GPIO_InitStruct.Pin = MD_CWE_Pin|MD_CCWE_Pin;
  GPIO_InitStruct.Mode = GPIO_MODE_OUTPUT_PP;
  GPIO_InitStruct.Pull = GPIO_NOPULL;
  GPIO_InitStruct.Speed = GPIO_SPEED_FREQ_LOW;
  HAL_GPIO_Init(GPIOB, &GPIO_InitStruct);

}

void Error_Handler(void)
{
  __disable_irq();
  while (1)
  {
  }
}
